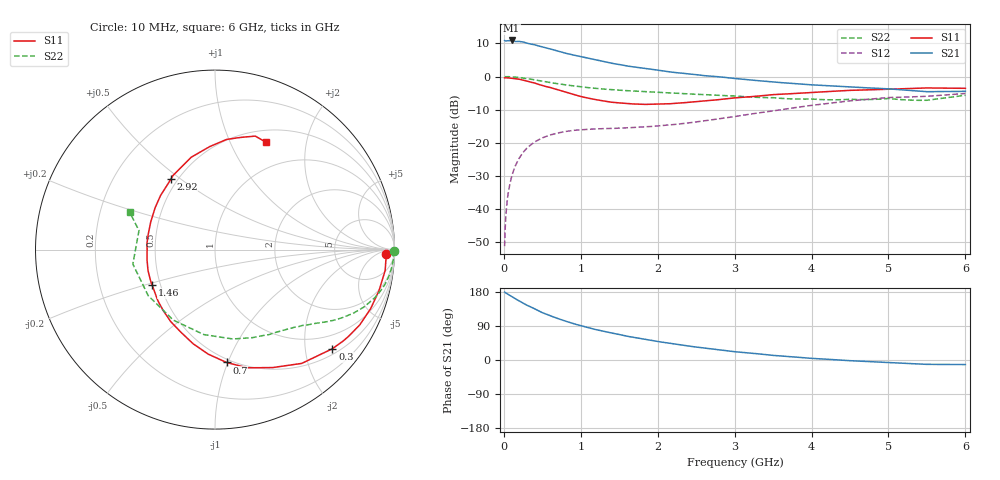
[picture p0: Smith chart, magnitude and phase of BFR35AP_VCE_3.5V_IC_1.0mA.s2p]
! Infineon Technologies  Discrete & RF Semiconductors
! BFR35AP
! VCE =  3.5 V,  IC =  1.0 mA
! Common Emitter S-Parameters:  Nov 2015
# GHz  S  MA  R  50
!  f  S11  S21  S12  S22
! GHz  MAG  ANG  MAG  ANG  MAG  ANG  MAG  ANG
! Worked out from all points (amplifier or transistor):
!   210 points, 10 MHz to 6 GHz, reference 50 ohm
!   highest |S21| = 10.9 dB at 100 MHz (marker M1)
!   |S21| within 3 dB of that: start of sweep to 670 MHz
!   unconditionally stable (mu >= 1): 1.414 GHz to 4.303 GHz; 5.048 GHz to end of sweep
!   at 185 MHz: K = 0.15, MSG = 18.0 dB, |S12| = -25.4 dB
!   at 1.52 GHz: K = 1.05, MAG = 8.2 dB, |S12| = -15.6 dB
!   at 6 GHz: K = 1.03, MAG = -0.7 dB, |S12| = -5.2 dB
!   S11 on the Smith chart (normalised r, x): 10 MHz: 33, -19; 300 MHz: 0.63, -2.60; 700 MHz: 0.47, -0.99; 1.46 GHz: 0.45, -0.21; 2.92 GHz: 0.46, +0.46; 6 GHz: 0.64, +1.37
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0.01  0.9553 -1.5  3.506 179.2  0.0027 92.5  0.9999 -0.6
0.02  0.9541 -2.8  3.447 177.4  0.0059 88.5  0.9925 -1.2
0.035  0.954 -4.9  3.46 175.7  0.0105 86.1  0.9939 -2.1
0.06  0.9514 -8.4  3.481 172.8  0.0181 84.0  0.994 -3.6
0.1  0.942 -14.0  3.513 168.2  0.0299 81.5  0.9888 -6.0
0.15  0.9275 -20.8  3.388 161.5  0.0445 76.9  0.9791 -8.9
0.2  0.909 -27.5  3.397 155.8  0.058 72.9  0.9666 -11.6
0.3  0.8559 -40.2  3.199 144.6  0.0824 65.4  0.93 -16.7
0.4  0.7971 -52.7  3.022 135.1  0.1022 58.6  0.8916 -20.9
0.5  0.7319 -63.9  2.813 125.0  0.1177 53.0  0.8494 -24.6
0.7  0.6322 -84.1  2.434 109.5  0.1393 44.4  0.7776 -30.2
0.9  0.5389 -103.0  2.119 96.1  0.1529 38.6  0.7222 -34.2
1.02  0.4919 -114.1  1.979 89.4  0.1564 36.3  0.6936 -36.4
1.2  0.4457 -130.3  1.784 80.0  0.1608 33.8  0.6603 -39.6
1.46  0.4018 -150.8  1.547 68.9  0.1644 33.0  0.6247 -43.6
2.02  0.3817 167.0  1.238 48.1  0.1796 36.6  0.5734 -53.3
2.92  0.4629 122.2  0.955 23.9  0.2401 42.7  0.5111 -76.2
3.1  0.4832 116.2  0.91 20.1  0.2583 42.5  0.4975 -82.3
4.1  0.5825 90.9  0.737 3.2  0.3774 35.5  0.4488 -125.4
5.1  0.6469 75.7  0.637 -7.7  0.4833 20.3  0.4529 -174.5
5.5  0.6709 70.5  0.589 -11.5  0.5017 13.1  0.4367 165.9
6  0.6627 64.8  0.596 -12.0  0.5523 8.3  0.5194 156.3
